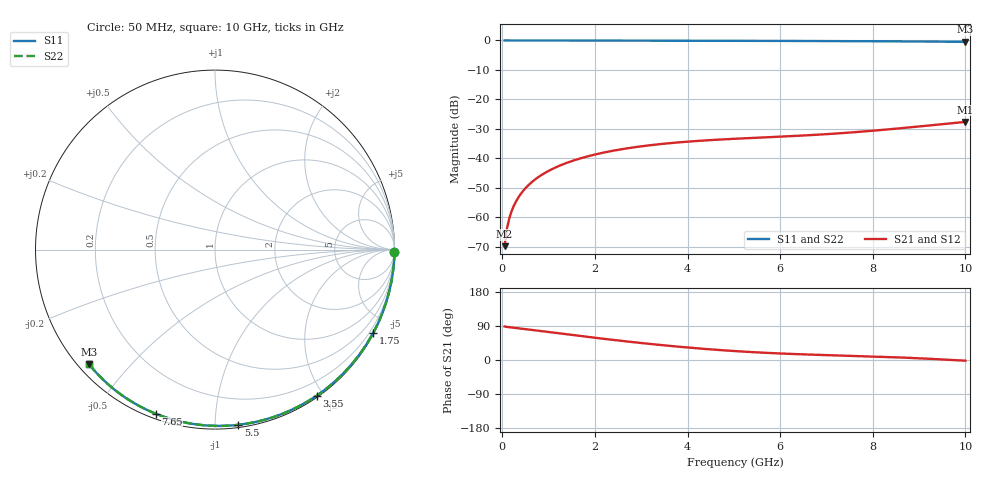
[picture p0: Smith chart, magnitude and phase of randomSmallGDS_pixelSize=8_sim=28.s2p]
! freq	dB(S11)	phase(S11)	dB(S12)	phase(S12)
!  dB(S21)	phase(S21)	dB(S22)	phase(S22)
!S-par simulation data
#  GHz  S  DB  R 50
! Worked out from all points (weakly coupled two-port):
!   200 points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, 50 MHz to 10 GHz, reference 50 ohm
!   highest |S21| = -27.66 dB at 10 GHz (marker M1); lowest = -69.9 dB at 50 MHz (marker M2)
!   lowest |S11| = -0.5 dB at 10 GHz (marker M3), VSWR 38.06, Z = 1.51 - j19.3 ohm
!   |S11| at or under -10 dB: nowhere
!   |S22| runs from -0.5 to 0.0 dB; largest |S21 - S12| = 0
!   S11 on the Smith chart (normalised r, x): 50 MHz: open; 1.75 GHz: 0.04, -4.02; 3.55 GHz: 0.02, -1.91; 5.5 GHz: 0.02, -1.14; 7.65 GHz: 0.02, -0.70; 10 GHz: 0.03, -0.39
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0.05  -0.00 -0.8  -69.87 88.4  -69.87 88.4  -0.00 -0.8
0.1  -0.00 -1.6  -63.94 87.3  -63.94 87.3  -0.00 -1.6
0.15  -0.00 -2.4  -60.49 86.5  -60.49 86.5  -0.00 -2.4
0.2  -0.00 -3.2  -58.03 85.8  -58.03 85.8  -0.00 -3.2
0.25  -0.00 -4.1  -56.13 85.1  -56.13 85.1  -0.00 -4.1
0.35  -0.00 -5.7  -53.24 83.7  -53.24 83.7  -0.00 -5.7
0.5  -0.01 -8.1  -50.18 81.5  -50.18 81.5  -0.01 -8.1
0.7  -0.01 -11.3  -47.31 78.4  -47.31 78.4  -0.01 -11.3
1  -0.02 -16.1  -44.30 73.8  -44.30 73.8  -0.02 -16.1
1.35  -0.03 -21.6  -41.82 68.4  -41.82 68.4  -0.03 -21.6
1.75  -0.04 -27.9  -39.76 62.4  -39.76 62.4  -0.04 -27.9
2.5  -0.05 -39.5  -37.14 51.5  -37.14 51.5  -0.05 -39.5
3.4  -0.07 -53.0  -35.22 39.8  -35.22 39.8  -0.07 -53.0
3.55  -0.07 -55.2  -34.98 38.0  -34.98 38.0  -0.07 -55.2
4.3  -0.09 -66.0  -34.04 29.9  -34.04 29.9  -0.09 -66.0
5.05  -0.12 -76.4  -33.37 23.3  -33.37 23.3  -0.12 -76.4
5.5  -0.13 -82.5  -33.03 20.1  -33.03 20.1  -0.13 -82.5
6.7  -0.19 -98.1  -32.11 14.1  -32.11 14.1  -0.19 -98.0
7.65  -0.25 -109.9  -31.11 10.6  -31.11 10.6  -0.25 -109.8
8.35  -0.30 -118.3  -30.18 7.8  -30.18 7.8  -0.30 -118.3
9.2  -0.37 -128.4  -28.91 3.3  -28.91 3.3  -0.37 -128.4
10  -0.46 -137.8  -27.66 -1.9  -27.66 -1.9  -0.46 -137.7
